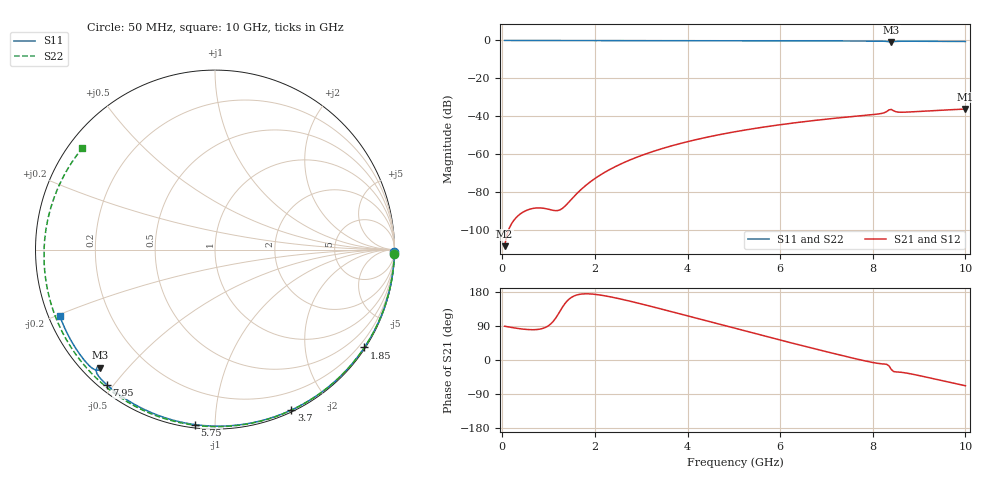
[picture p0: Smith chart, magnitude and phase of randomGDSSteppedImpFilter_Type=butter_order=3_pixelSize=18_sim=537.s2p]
! freq	dB(S11)	phase(S11)	dB(S12)	phase(S12)
!  dB(S21)	phase(S21)	dB(S22)	phase(S22)
!S-par simulation data
#  GHz  S  DB  R 50
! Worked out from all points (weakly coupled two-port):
!   200 points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, 50 MHz to 10 GHz, reference 50 ohm
!   highest |S21| = -36.16 dB at 10 GHz (marker M1); lowest = -108.5 dB at 50 MHz (marker M2)
!   lowest |S11| = -0.8 dB at 8.4 GHz (marker M3), VSWR 22.84, Z = 2.58 - j21.1 ohm
!   |S11| at or under -10 dB: nowhere
!   |S22| runs from -0.6 to 0.0 dB; largest |S21 - S12| = 0
!   S11 on the Smith chart (normalised r, x): 50 MHz: open; 1.85 GHz: 0.03, -3.35; 3.7 GHz: 0.02, -1.58; 5.75 GHz: 0.02, -0.89; 7.95 GHz: 0.02, -0.48; 10 GHz: 0.03, -0.20
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0.05  -0.00 -0.9  -108.46 89.2  -108.46 89.2  -0.00 -1.3
0.8  -0.02 -14.5  -88.28 81.2  -88.28 81.2  -0.03 -20.1
1.6  -0.04 -28.8  -80.96 171.3  -80.96 171.3  -0.05 -39.7
1.65  -0.04 -29.7  -79.76 172.9  -79.76 172.9  -0.05 -40.9
1.75  -0.04 -31.5  -77.52 174.5  -77.52 174.5  -0.05 -43.3
1.85  -0.04 -33.2  -75.49 174.6  -75.49 174.6  -0.06 -45.7
2.15  -0.05 -38.5  -70.42 170.7  -70.42 170.7  -0.07 -52.8
2.5  -0.06 -44.5  -65.81 162.4  -65.81 162.4  -0.08 -60.9
3.4  -0.08 -59.7  -57.39 135.6  -57.39 135.6  -0.11 -81.1
3.7  -0.09 -64.6  -55.26 126.1  -55.26 126.1  -0.12 -87.6
4.35  -0.11 -75.0  -51.38 105.2  -51.38 105.2  -0.14 -101.3
5.05  -0.13 -86.0  -48.03 82.7  -48.03 82.7  -0.17 -115.6
5.75  -0.16 -96.5  -45.29 60.5  -45.29 60.5  -0.21 -129.5
6.7  -0.22 -110.5  -42.29 31.0  -42.29 31.0  -0.28 -148.1
7.95  -0.31 -128.6  -39.21 -5.4  -39.21 -5.4  -0.39 -172.8
8.2  -0.37 -132.6  -38.42 -10.2  -38.42 -10.2  -0.41 -177.9
8.35  -0.67 -135.1  -36.61 -15.4  -36.61 -15.4  -0.43 179.1
8.4  -0.76 -134.2  -36.36 -25.0  -36.36 -25.0  -0.43 178.0
8.5  -0.49 -134.7  -37.58 -31.4  -37.58 -31.4  -0.44 175.9
8.65  -0.41 -137.3  -37.84 -33.0  -37.84 -33.0  -0.46 172.8
9.35  -0.46 -147.7  -36.95 -50.4  -36.95 -50.4  -0.54 157.6
10  -0.53 -157.0  -36.16 -68.0  -36.16 -68.0  -0.62 142.7
